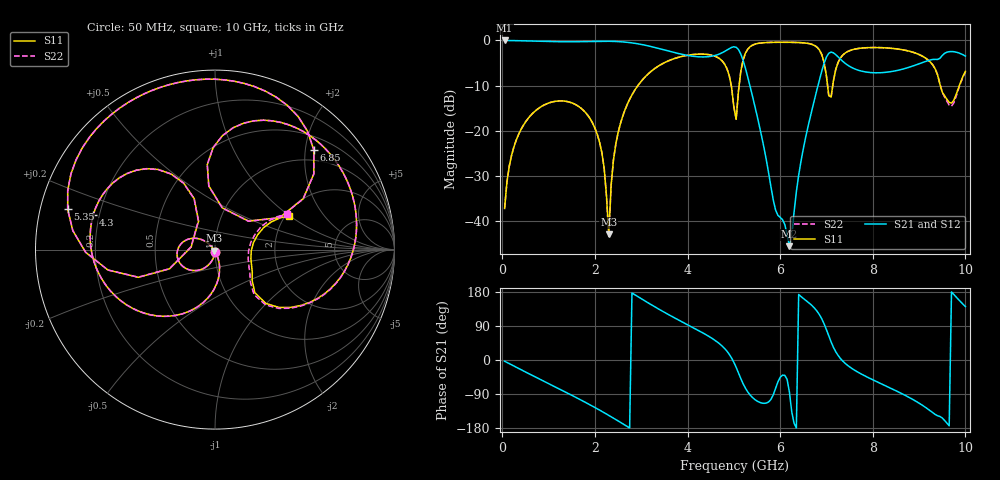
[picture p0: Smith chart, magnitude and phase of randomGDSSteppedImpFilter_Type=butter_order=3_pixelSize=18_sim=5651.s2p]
! freq	dB(S11)	phase(S11)	dB(S12)	phase(S12)
!  dB(S21)	phase(S21)	dB(S22)	phase(S22)
!S-par simulation data
#  GHz  S  DB  R 50
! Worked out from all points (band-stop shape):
!   200 points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, 50 MHz to 10 GHz, reference 50 ohm
!   highest |S21| = -0.01 dB at 50 MHz (marker M1); lowest = -45.6 dB at 6.2 GHz (marker M2)
!   |S21| within 3 dB of the highest: start of sweep to 3.849 GHz; 4.686 GHz to 5.15 GHz (464.1 MHz wide, 9.44 % of centre) (the widest 2 of 4)
!   lowest |S11| = -42.9 dB at 2.3 GHz (marker M3), VSWR 1.01, Z = 49.5 - j0.505 ohm
!   |S11| at or under -10 dB: start of sweep to 2.929 GHz; 4.944 GHz to 5.114 GHz (169.6 MHz wide, 3.37 % of centre); 9.458 GHz to 9.869 GHz (411.1 MHz wide, 4.25 % of centre) (the widest 3 of 4)
!   |S22| runs from -43.7 to -0.4 dB; largest |S21 - S12| = 0
!   S11 on the Smith chart (normalised r, x): 50 MHz: 1.00, -0.03; 4.3 GHz: 0.18, +0.14; 5.35 GHz: 0.08, +0.13; 6.85 GHz: 0.77, +2.18; 10 GHz: 2.09, +0.99
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0.05  -37.21 -90.6  -0.01 -3.2  -0.01 -3.2  -37.21 -90.6
0.55  -17.38 -125.0  -0.13 -34.7  -0.13 -34.7  -17.38 -125.0
1.75  -15.46 161.4  -0.26 -108.9  -0.26 -108.9  -15.47 161.2
2.15  -24.86 138.2  -0.19 -135.6  -0.19 -135.6  -24.87 137.5
2.3  -42.91 -134.5  -0.20 -146.2  -0.20 -146.2  -43.74 -134.5
2.4  -26.51 -70.8  -0.22 -153.4  -0.22 -153.4  -26.52 -69.7
2.55  -18.45 -78.0  -0.29 -164.4  -0.29 -164.4  -18.45 -77.5
3.4  -5.50 -138.3  -1.84 132.8  -1.84 132.8  -5.50 -138.2
4.3  -3.03 163.9  -3.66 73.6  -3.66 73.6  -3.03 164.0
4.8  -5.25 125.3  -2.44 30.4  -2.44 30.4  -5.24 125.4
5.05  -17.48 173.9  -1.52 -19.4  -1.52 -19.4  -17.41 173.8
5.35  -1.40 164.7  -10.14 -92.2  -10.14 -92.2  -1.40 164.7
6.2  -0.42 99.4  -45.55 -84.7  -45.55 -84.7  -0.42 99.4
6.7  -0.92 63.4  -14.83 142.2  -14.83 142.2  -0.93 63.3
6.85  -2.15 45.2  -8.66 119.2  -8.66 119.2  -2.15 45.1
7.05  -12.20 40.3  -2.85 63.5  -2.85 63.5  -12.23 40.2
7.2  -6.44 95.2  -3.15 21.8  -3.15 21.8  -6.45 95.2
7.55  -2.09 65.8  -6.03 -22.5  -6.03 -22.5  -2.09 65.8
8.35  -1.70 20.9  -6.98 -72.3  -6.98 -72.3  -1.71 20.7
9.3  -5.50 -37.3  -4.21 -139.5  -4.21 -139.5  -5.48 -37.9
9.7  -13.89 -1.9  -2.47 179.6  -2.47 179.6  -14.56 -2.1
10  -6.86 24.5  -3.48 141.1  -3.48 141.1  -6.97 26.2
